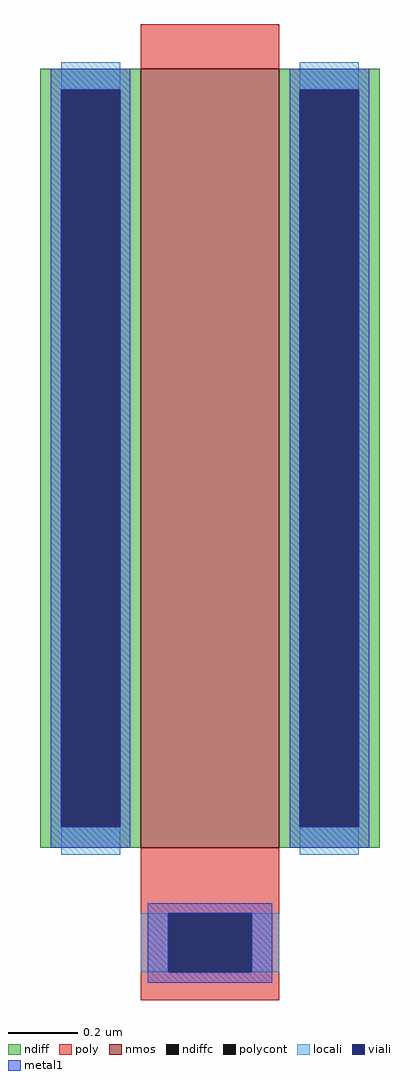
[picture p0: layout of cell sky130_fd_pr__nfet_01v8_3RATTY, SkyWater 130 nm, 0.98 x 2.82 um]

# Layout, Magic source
magic
tech sky130A
<< nmos >>
rect -20 -97 20 128
<< ndiff >>
rect -49 122 -20 128
rect -49 -91 -43 122
rect -26 -91 -20 122
rect -49 -97 -20 -91
rect 20 122 49 128
rect 20 -91 26 122
rect 43 -91 49 122
rect 20 -97 49 -91
<< ndiffc >>
rect -43 -91 -26 122
rect 26 -91 43 122
<< poly >>
rect -20 128 20 141
rect -20 -116 20 -97
rect -20 -133 -12 -116
rect 12 -133 20 -116
rect -20 -141 20 -133
<< polycont >>
rect -12 -133 12 -116
<< locali >>
rect -43 122 -26 130
rect -43 -99 -26 -91
rect 26 122 43 130
rect 26 -99 43 -91
rect -20 -133 -12 -116
rect 12 -133 20 -116
<< viali >>
rect -43 -91 -26 122
rect 26 -91 43 122
rect -12 -133 12 -116
<< metal1 >>
rect -46 122 -23 128
rect -46 -91 -43 122
rect -26 -91 -23 122
rect -46 -97 -23 -91
rect 23 122 46 128
rect 23 -91 26 122
rect 43 -91 46 122
rect 23 -97 46 -91
rect -18 -116 18 -113
rect -18 -133 -12 -116
rect 12 -133 18 -116
rect -18 -136 18 -133
<< properties >>
string gencell sky130_fd_pr__nfet_01v8
string library sky130
string parameters w 2.25 l 0.4 m 1 nf 1 diffcov 100 polycov 100 guard 0 glc 1 grc 1 gtc 1 gbc 1 tbcov 100 rlcov 100 topc 0 botc 1 poverlap 0 doverlap 0 lmin 0.15 wmin 0.42 class mosfet compatible {sky130_fd_pr__nfet_01v8 sky130_fd_pr__nfet_01v8_lvt  sky130_fd_bs_flash__special_sonosfet_star  sky130_fd_pr__nfet_g5v0d10v5 sky130_fd_pr__nfet_05v0_nvt  sky130_fd_pr__nfet_03v3_nvt} full_metal 1 viasrc 100 viadrn 100 viagate 100 viagb 0 viagr 0 viagl 0 viagt 0
<< end >>
